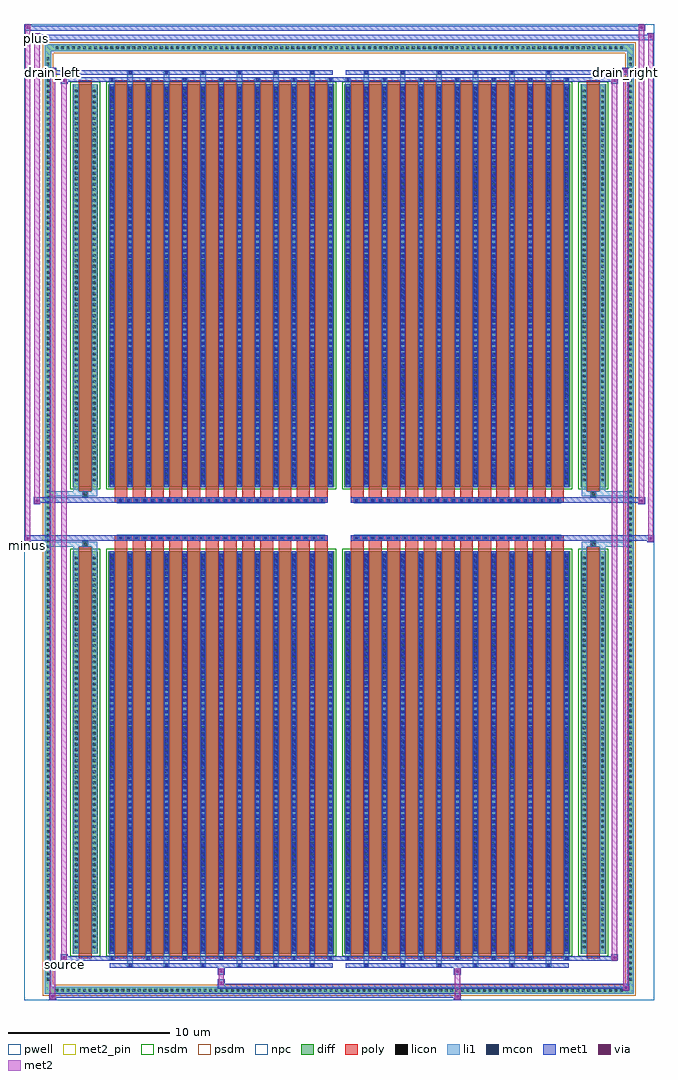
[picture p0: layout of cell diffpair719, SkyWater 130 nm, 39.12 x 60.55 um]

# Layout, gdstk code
import gdstk
lib = gdstk.Library(unit=1e-6, precision=5e-09)
def R(c, l, rs):  # rectangles x0, y0, x1, y1
    for r in rs: c.add(gdstk.rectangle(r[:2], r[2:], *l))
def A(c, l, x, y, w, h, nx, ny, dx, dy):  # array of equal rectangles
    R(c, l, [(x+i*dx, y+j*dy, x+i*dx+w, y+j*dy+h) for i in range(nx) for j in range(ny)])
def P(c, l, *ps):  # polygons
    for p in ps: c.add(gdstk.Polygon(p, *l))
pwell = (64, 44)
diff = (65, 20)
poly = (66, 20)
licon = (66, 44)
li1 = (67, 20)
mcon = (67, 44)
met1 = (68, 20)
via = (68, 44)
met2_pin = (69, 16)
met2 = (69, 20)
nsdm = (93, 44)
psdm = (94, 20)
npc = (95, 20)

diffpair719 = lib.new_cell('diffpair719')
R(diffpair719, pwell, [(-19.54,-29.84,19.54,30.71), (-16.86,-28.03,-0.01,-0.805), (0.01,-28.03,16.86,-0.805), (-16.86,0.805,-0.01,28.03), (0.01,0.805,16.86,28.03)])
A(diffpair719, diff, -17.715, -29.44, 0.41, 0.41, 104, 2, 0.34, 58.47)
A(diffpair719, diff, -18.27, -28.765, 0.41, 0.41, 1, 169, 0, 0.34)
A(diffpair719, diff, 17.86, -28.765, 0.41, 0.41, 1, 169, 0, 0.34)
R(diffpair719, diff, [(-17.715,-29.44,17.715,-29.03), (-18.27,-28.765,-17.86,28.765), (17.86,-28.765,18.27,28.765), (-16.55,-26.985,-14.97,-1.985), (-14.33,-26.985,-0.32,-1.985), (0.32,-26.985,14.33,-1.985), (14.97,-26.985,16.55,-1.985), (-16.55,1.985,-14.97,26.985), (-14.33,1.985,-0.32,26.985), (0.32,1.985,14.33,26.985), (14.97,1.985,16.55,26.985), (-17.715,29.03,17.715,29.44)])
P(diffpair719, diff, [(18.27,29.44),(-18.27,29.44),(-18.27,-29.03),(-17.86,-29.03),(-17.86,29.03),(17.86,29.03),(17.86,-29.03),(-17.86,-29.03),(-18.27,-29.03),(-18.27,-29.44),(18.27,-29.44)])
A(diffpair719, poly, -13.94, -27.235, 0.8, 25.5, 12, 2, 1.13, 28.97)
A(diffpair719, poly, 0.71, -27.235, 0.8, 25.5, 12, 2, 1.13, 28.97)
A(diffpair719, poly, -13.94, -1.735, 0.8, 0.4, 12, 2, 1.13, 3.07)
A(diffpair719, poly, 0.71, -1.735, 0.8, 0.4, 12, 2, 1.13, 3.07)
A(diffpair719, poly, -13.74, -1.335, 0.33, 0.33, 26, 2, 0.5, 2.34)
A(diffpair719, poly, 0.91, -1.335, 0.33, 0.33, 26, 2, 0.5, 2.34)
R(diffpair719, poly, [(-16.16,-27.235,-15.36,-1.735), (15.36,-27.235,16.16,-1.735), (-15.925,-1.735,-15.595,-1.405), (-15.925,-1.735,-15.595,-1.405), (15.595,-1.735,15.925,-1.405), (15.595,-1.735,15.925,-1.405), (-13.94,-1.335,-0.71,-1.005), (0.71,-1.335,13.94,-1.005), (-13.94,1.005,-0.71,1.335), (0.71,1.005,13.94,1.335), (-15.925,1.405,-15.595,1.735), (-15.925,1.405,-15.595,1.735), (15.595,1.405,15.925,1.735), (15.595,1.405,15.925,1.735), (-16.16,1.735,-15.36,27.235), (15.36,1.735,16.16,27.235)])
A(diffpair719, licon, -17.595, -29.32, 0.17, 0.17, 104, 2, 0.34, 58.47)
A(diffpair719, licon, -18.15, -28.645, 0.17, 0.17, 1, 169, 0, 0.34)
A(diffpair719, licon, 17.98, -28.645, 0.17, 0.17, 1, 169, 0, 0.34)
A(diffpair719, licon, -16.41, -26.64, 0.17, 0.17, 1, 72, 0, 0.34)
A(diffpair719, licon, -15.28, -26.64, 0.17, 0.17, 1, 72, 0, 0.34)
A(diffpair719, licon, -14.19, -26.64, 0.17, 0.17, 13, 72, 1.13, 0.34)
A(diffpair719, licon, 0.46, -26.64, 0.17, 0.17, 13, 72, 1.13, 0.34)
A(diffpair719, licon, 15.11, -26.64, 0.17, 0.17, 1, 72, 0, 0.34)
A(diffpair719, licon, 16.24, -26.64, 0.17, 0.17, 1, 72, 0, 0.34)
A(diffpair719, licon, -13.66, -1.255, 0.17, 0.17, 26, 2, 0.5, 2.34)
A(diffpair719, licon, 0.99, -1.255, 0.17, 0.17, 26, 2, 0.5, 2.34)
A(diffpair719, licon, -16.41, 2.33, 0.17, 0.17, 1, 72, 0, 0.34)
A(diffpair719, licon, -15.28, 2.33, 0.17, 0.17, 1, 72, 0, 0.34)
A(diffpair719, licon, -14.19, 2.33, 0.17, 0.17, 13, 72, 1.13, 0.34)
A(diffpair719, licon, 0.46, 2.33, 0.17, 0.17, 13, 72, 1.13, 0.34)
A(diffpair719, licon, 15.11, 2.33, 0.17, 0.17, 1, 72, 0, 0.34)
A(diffpair719, licon, 16.24, 2.33, 0.17, 0.17, 1, 72, 0, 0.34)
R(diffpair719, licon, [(-15.845,-1.655,-15.675,-1.485), (15.675,-1.655,15.845,-1.485), (-15.845,1.485,-15.675,1.655), (15.675,1.485,15.845,1.655)])
A(diffpair719, li1, -17.675, -29.4, 0.33, 0.33, 104, 2, 0.34, 58.47)
A(diffpair719, li1, -18.23, -28.725, 0.33, 0.33, 1, 169, 0, 0.34)
A(diffpair719, li1, 17.9, -28.725, 0.33, 0.33, 1, 169, 0, 0.34)
A(diffpair719, li1, -13.14, -27.79, 0.33, 0.805, 6, 2, 2.26, 54.775)
A(diffpair719, li1, -13.06, -27.79, 0.17, 0.17, 6, 2, 2.26, 55.41)
A(diffpair719, li1, 1.51, -27.79, 0.33, 0.805, 6, 2, 2.26, 54.775)
A(diffpair719, li1, 1.59, -27.79, 0.17, 0.17, 6, 2, 2.26, 55.41)
A(diffpair719, li1, -14.27, -27.36, 0.33, 0.375, 7, 2, 2.26, 54.345)
A(diffpair719, li1, -14.19, -27.36, 0.17, 0.17, 7, 2, 2.26, 54.55)
A(diffpair719, li1, 0.38, -27.36, 0.33, 0.375, 7, 2, 2.26, 54.345)
A(diffpair719, li1, 0.46, -27.36, 0.17, 0.17, 7, 2, 2.26, 54.55)
A(diffpair719, li1, -14.27, -26.985, 0.33, 25, 13, 2, 1.13, 28.97)
A(diffpair719, li1, 0.38, -26.985, 0.33, 25, 13, 2, 1.13, 28.97)
A(diffpair719, li1, -14.19, -26.81, 0.17, 0.17, 13, 69, 1.13, 0.36)
A(diffpair719, li1, -14.19, -26.81, 0.17, 24.65, 13, 2, 1.13, 28.97)
A(diffpair719, li1, 0.46, -26.81, 0.17, 0.17, 13, 69, 1.13, 0.36)
A(diffpair719, li1, 0.46, -26.81, 0.17, 24.65, 13, 2, 1.13, 28.97)
A(diffpair719, li1, -16.49, -26.72, 0.33, 0.33, 1, 72, 0, 0.34)
A(diffpair719, li1, -15.36, -26.72, 0.33, 0.33, 1, 72, 0, 0.34)
A(diffpair719, li1, -14.27, -26.72, 0.33, 0.33, 13, 72, 1.13, 0.34)
A(diffpair719, li1, 0.38, -26.72, 0.33, 0.33, 13, 72, 1.13, 0.34)
A(diffpair719, li1, 15.03, -26.72, 0.33, 0.33, 1, 72, 0, 0.34)
A(diffpair719, li1, 16.16, -26.72, 0.33, 0.33, 1, 72, 0, 0.34)
A(diffpair719, li1, -13.74, -1.335, 0.33, 0.33, 26, 2, 0.5, 2.34)
A(diffpair719, li1, 0.91, -1.335, 0.33, 0.33, 26, 2, 0.5, 2.34)
A(diffpair719, li1, -14.19, 2.16, 0.17, 0.17, 13, 69, 1.13, 0.36)
A(diffpair719, li1, 0.46, 2.16, 0.17, 0.17, 13, 69, 1.13, 0.36)
A(diffpair719, li1, -16.49, 2.25, 0.33, 0.33, 1, 72, 0, 0.34)
A(diffpair719, li1, -15.36, 2.25, 0.33, 0.33, 1, 72, 0, 0.34)
A(diffpair719, li1, -14.27, 2.25, 0.33, 0.33, 13, 72, 1.13, 0.34)
A(diffpair719, li1, 0.38, 2.25, 0.33, 0.33, 13, 72, 1.13, 0.34)
A(diffpair719, li1, 15.03, 2.25, 0.33, 0.33, 1, 72, 0, 0.34)
A(diffpair719, li1, 16.16, 2.25, 0.33, 0.33, 1, 72, 0, 0.34)
R(diffpair719, li1, [(-18.27,-29.44,-17.86,-29.03), (-18.27,-29.44,-17.86,-29.03), (-17.86,-29.44,17.86,-29.03), (17.86,-29.44,18.27,-29.03), (17.86,-29.44,18.27,-29.03), (-18.27,-29.03,-17.86,29.03), (17.86,-29.03,18.27,29.03), (-16.49,-26.985,-16.16,-1.985), (-15.36,-26.985,-15.03,-1.985), (15.03,-26.985,15.36,-1.985), (16.16,-26.985,16.49,-1.985), (-16.49,-1.985,-16.16,-1.405), (-15.36,-1.985,-15.03,-1.405), (15.03,-1.985,15.36,-1.405), (16.16,-1.985,16.49,-1.405), (-18.27,-1.735,-15.925,-1.405), (-16.49,-1.735,-15.925,-1.405), (-15.925,-1.735,-15.595,-1.405), (-15.595,-1.735,-15.03,-1.405), (15.03,-1.735,15.595,-1.405), (15.595,-1.735,15.925,-1.405), (15.595,-1.735,18.27,-1.405), (15.925,-1.735,16.49,-1.405), (-18.27,1.405,-15.925,1.735), (-16.49,1.405,-15.925,1.735), (-16.49,1.405,-16.16,1.985), (-15.925,1.405,-15.595,1.735), (-15.595,1.405,-15.03,1.735), (-15.36,1.405,-15.03,1.985), (15.03,1.405,15.595,1.735), (15.03,1.405,15.36,1.985), (15.595,1.405,15.925,1.735), (15.595,1.405,18.27,1.735), (15.925,1.405,16.49,1.735), (16.16,1.405,16.49,1.985), (-16.49,1.985,-16.16,26.985), (-15.36,1.985,-15.03,26.985), (15.03,1.985,15.36,26.985), (16.16,1.985,16.49,26.985), (-18.27,29.03,-17.86,29.44), (-18.27,29.03,-17.86,29.44), (-17.86,29.03,17.86,29.44), (17.86,29.03,18.27,29.44), (17.86,29.03,18.27,29.44)])
A(diffpair719, mcon, -13.06, -27.79, 0.17, 0.17, 6, 2, 2.26, 55.41)
A(diffpair719, mcon, 1.59, -27.79, 0.17, 0.17, 6, 2, 2.26, 55.41)
A(diffpair719, mcon, -14.19, -27.36, 0.17, 0.17, 7, 2, 2.26, 54.55)
A(diffpair719, mcon, 0.46, -27.36, 0.17, 0.17, 7, 2, 2.26, 54.55)
A(diffpair719, mcon, -14.19, -26.81, 0.17, 0.17, 13, 69, 1.13, 0.36)
A(diffpair719, mcon, 0.46, -26.81, 0.17, 0.17, 13, 69, 1.13, 0.36)
A(diffpair719, mcon, -13.66, -1.255, 0.17, 0.17, 26, 2, 0.5, 2.34)
A(diffpair719, mcon, 0.99, -1.255, 0.17, 0.17, 26, 2, 0.5, 2.34)
A(diffpair719, mcon, -14.19, 2.16, 0.17, 0.17, 13, 69, 1.13, 0.36)
A(diffpair719, mcon, 0.46, 2.16, 0.17, 0.17, 13, 69, 1.13, 0.36)
A(diffpair719, met1, -13.12, -27.85, 0.29, 0.29, 6, 2, 2.26, 55.41)
A(diffpair719, met1, 1.53, -27.85, 0.29, 0.29, 6, 2, 2.26, 55.41)
A(diffpair719, met1, -14.25, -27.42, 0.29, 0.29, 7, 2, 2.26, 54.55)
A(diffpair719, met1, 0.4, -27.42, 0.29, 0.29, 7, 2, 2.26, 54.55)
A(diffpair719, met1, -14.25, -26.985, 0.29, 25, 13, 2, 1.13, 28.97)
A(diffpair719, met1, 0.4, -26.985, 0.29, 25, 13, 2, 1.13, 28.97)
A(diffpair719, met1, -14.25, -26.87, 0.29, 0.29, 13, 69, 1.13, 0.36)
A(diffpair719, met1, 0.4, -26.87, 0.29, 0.29, 13, 69, 1.13, 0.36)
A(diffpair719, met1, -13.72, -1.315, 0.29, 0.29, 26, 2, 0.5, 2.34)
A(diffpair719, met1, 0.93, -1.315, 0.29, 0.29, 26, 2, 0.5, 2.34)
A(diffpair719, met1, -14.25, 2.1, 0.29, 0.29, 13, 69, 1.13, 0.36)
A(diffpair719, met1, 0.4, 2.1, 0.29, 0.29, 13, 69, 1.13, 0.36)
R(diffpair719, met1, [(-18,-29.84,-17.57,-29.41), (7.11,-29.84,7.54,-29.41), (-18,-29.7,7.54,-29.41), (17.57,-29.27,18,-28.84), (-7.54,-29.13,18,-28.84), (-7.54,-28.99,-7.11,-28.56), (-7.54,-28.28,-7.11,-27.85), (7.11,-28.28,7.54,-27.85), (-14.25,-27.85,-0.4,-27.56), (0.4,-27.85,14.25,-27.56), (-17.29,-27.42,-16.86,-26.99), (-17.29,-27.42,-14.25,-27.13), (-14.25,-27.42,-0.4,-27.13), (-0.4,-27.42,0.4,-27.13), (0.4,-27.42,14.25,-27.13), (14.25,-27.42,17.29,-27.13), (16.86,-27.42,17.29,-26.99), (-19.54,-1.435,-19.11,-1.005), (19.11,-1.435,19.54,-1.005), (-19.54,-1.335,-0.71,-1.005), (-13.94,-1.335,-0.71,-1.005), (0.71,-1.335,13.94,-1.005), (0.71,-1.335,19.54,-1.005), (-18.97,0.905,-18.54,1.335), (18.54,0.905,18.97,1.335), (-18.97,1.005,-13.94,1.335), (-13.94,1.005,-0.71,1.335), (0.71,1.005,13.94,1.335), (13.94,1.005,18.97,1.335), (-17.29,26.99,-16.86,27.42), (16.86,26.99,17.29,27.42), (-17.29,27.13,-14.25,27.42), (-14.25,27.13,-0.4,27.42), (-0.4,27.13,0.4,27.42), (0.4,27.13,14.25,27.42), (14.25,27.13,17.29,27.42), (-18,27.56,-17.57,27.99), (-18,27.56,-14.25,27.85), (-14.25,27.56,-0.4,27.85), (0.4,27.56,14.25,27.85), (14.25,27.56,18,27.85), (17.57,27.56,18,27.99), (-18.97,29.71,-18.54,30.14), (-18.97,29.71,-16.86,30.04), (-16.86,29.71,16.86,30.04), (16.86,29.71,19.54,30.04), (19.11,29.71,19.54,30.14), (-19.54,30.28,-19.11,30.71), (-19.54,30.28,-16.86,30.61), (-16.86,30.28,16.86,30.61), (16.86,30.28,18.97,30.61), (18.54,30.28,18.97,30.71)])
R(diffpair719, via, [(-17.86,-29.7,-17.71,-29.55), (7.25,-29.7,7.4,-29.55), (17.71,-29.13,17.86,-28.98), (-7.4,-28.85,-7.25,-28.7), (-7.4,-28.14,-7.25,-27.99), (7.25,-28.14,7.4,-27.99), (-17.15,-27.28,-17,-27.13), (17,-27.28,17.15,-27.13), (-19.4,-1.295,-19.25,-1.145), (19.25,-1.295,19.4,-1.145), (-18.83,1.045,-18.68,1.195), (18.68,1.045,18.83,1.195), (-17.15,27.13,-17,27.28), (17,27.13,17.15,27.28), (-17.86,27.7,-17.71,27.85), (17.71,27.7,17.86,27.85), (-18.83,29.85,-18.68,30), (19.25,29.85,19.4,30), (-19.4,30.42,-19.25,30.57), (18.68,30.42,18.83,30.57)])
R(diffpair719, met2_pin, [(-17.325,-27.87,-16.825,-27.37), (-19.575,-1.885,-19.075,-1.385), (-18.035,27.44,-17.535,27.94), (17.535,27.44,18.035,27.94), (-19.005,29.59,-18.505,30.09)])
R(diffpair719, met2, [(-17.95,-29.79,-17.62,-29.46), (-17.95,-29.79,-17.62,27.94), (7.16,-29.79,7.49,-29.46), (7.16,-29.46,7.49,-28.23), (17.62,-29.22,17.95,-28.89), (17.62,-29.22,17.95,27.94), (-7.49,-28.94,-7.16,-28.61), (-7.49,-28.61,-7.16,-28.23), (-7.49,-28.23,-7.16,-27.9), (7.16,-28.23,7.49,-27.9), (-17.24,-27.37,-16.91,-27.04), (-17.24,-27.37,-16.91,27.37), (16.91,-27.37,17.24,-27.04), (16.91,-27.37,17.24,27.37), (-19.49,-1.385,-19.16,-1.055), (-19.49,-1.385,-19.16,30.66), (19.16,-1.385,19.49,-1.055), (19.16,-1.385,19.49,30.09), (-18.92,0.955,-18.59,1.285), (-18.92,0.955,-18.59,30.09), (18.59,0.955,18.92,1.285), (18.59,0.955,18.92,30.66), (-17.24,27.04,-16.91,27.37), (16.91,27.04,17.24,27.37), (-17.95,27.61,-17.62,27.94), (17.62,27.61,17.95,27.94), (-18.92,29.76,-18.59,30.09), (19.16,29.76,19.49,30.09), (-19.49,30.33,-19.16,30.66), (18.59,30.33,18.92,30.66)])
P(diffpair719, met2, [(19.49,-1.385),(19.49,-1.385),(19.49,-1.055),(19.49,-1.055)],
  [(19.49,29.76),(19.49,29.76),(19.49,30.09),(19.49,30.09)],
  [(-19.16,-1.385),(-19.16,-1.385),(-19.16,-1.055),(-19.16,-1.055)],
  [(-19.16,30.33),(-19.16,30.33),(-19.16,30.66),(-19.16,30.66)],
  [(18.92,0.955),(18.92,0.955),(18.92,1.285),(18.92,1.285)],
  [(18.92,30.33),(18.92,30.33),(18.92,30.66),(18.92,30.66)],
  [(-18.59,0.955),(-18.59,0.955),(-18.59,1.285),(-18.59,1.285)],
  [(-18.59,29.76),(-18.59,29.76),(-18.59,30.09),(-18.59,30.09)],
  [(-17.62,-29.79),(-17.62,-29.79),(-17.62,-29.46),(-17.62,-29.46)],
  [(-17.62,27.61),(-17.62,27.61),(-17.62,27.94),(-17.62,27.94)],
  [(17.95,-29.22),(17.95,-29.22),(17.95,-28.89),(17.95,-28.89)],
  [(17.95,27.61),(17.95,27.61),(17.95,27.94),(17.95,27.94)],
  [(-16.91,-27.37),(-16.91,-27.37),(-16.91,-27.04),(-16.91,-27.04)],
  [(-16.91,27.04),(-16.91,27.04),(-16.91,27.37),(-16.91,27.37)],
  [(17.24,-27.37),(17.24,-27.37),(17.24,-27.04),(17.24,-27.04)],
  [(17.24,27.04),(17.24,27.04),(17.24,27.37),(17.24,27.37)])
R(diffpair719, nsdm, [(-16.68,-27.115,-14.84,-1.855), (-14.46,-27.115,-0.19,-1.855), (0.19,-27.115,14.46,-1.855), (14.84,-27.115,16.68,-1.855), (-16.68,1.855,-14.84,27.115), (-14.46,1.855,-0.19,27.115), (0.19,1.855,14.46,27.115), (14.84,1.855,16.68,27.115)])
P(diffpair719, psdm, [(18.4,29.57),(-18.4,29.57),(-18.4,-28.9),(-17.73,-28.9),(-17.73,28.9),(17.73,28.9),(17.73,-28.9),(-17.73,-28.9),(-18.4,-28.9),(-18.4,-29.57),(18.4,-29.57)])
A(diffpair719, npc, -13.76, -1.355, 0.37, 0.37, 26, 2, 0.5, 2.34)
A(diffpair719, npc, 0.89, -1.355, 0.37, 0.37, 26, 2, 0.5, 2.34)
R(diffpair719, npc, [(-15.945,-1.755,-15.575,-1.385), (15.575,-1.755,15.945,-1.385), (-13.76,-1.355,-12.89,-0.985), (-13.76,-1.355,-12.89,-0.985), (-13.26,-1.355,-12.39,-0.985), (-13.26,-1.355,-12.39,-0.985), (-12.76,-1.355,-11.89,-0.985), (-12.76,-1.355,-11.89,-0.985), (-12.26,-1.355,-11.39,-0.985), (-12.26,-1.355,-11.39,-0.985), (-11.76,-1.355,-10.89,-0.985), (-11.76,-1.355,-10.89,-0.985), (-11.26,-1.355,-10.39,-0.985), (-11.26,-1.355,-10.39,-0.985), (-10.76,-1.355,-9.89,-0.985), (-10.76,-1.355,-9.89,-0.985), (-10.26,-1.355,-9.39,-0.985), (-10.26,-1.355,-9.39,-0.985), (-9.76,-1.355,-8.89,-0.985), (-9.76,-1.355,-8.89,-0.985), (-9.26,-1.355,-8.39,-0.985), (-9.26,-1.355,-8.39,-0.985), (-8.76,-1.355,-7.89,-0.985), (-8.76,-1.355,-7.89,-0.985), (-8.26,-1.355,-7.39,-0.985), (-8.26,-1.355,-7.39,-0.985), (-7.76,-1.355,-6.89,-0.985), (-7.76,-1.355,-6.89,-0.985), (-7.26,-1.355,-6.39,-0.985), (-7.26,-1.355,-6.39,-0.985), (-6.76,-1.355,-5.89,-0.985), (-6.76,-1.355,-5.89,-0.985), (-6.26,-1.355,-5.39,-0.985), (-6.26,-1.355,-5.39,-0.985), (-5.76,-1.355,-4.89,-0.985), (-5.76,-1.355,-4.89,-0.985), (-5.26,-1.355,-4.39,-0.985), (-5.26,-1.355,-4.39,-0.985), (-4.76,-1.355,-3.89,-0.985), (-4.76,-1.355,-3.89,-0.985), (-4.26,-1.355,-3.39,-0.985), (-4.26,-1.355,-3.39,-0.985), (-3.76,-1.355,-2.89,-0.985), (-3.76,-1.355,-2.89,-0.985), (-3.26,-1.355,-2.39,-0.985), (-3.26,-1.355,-2.39,-0.985), (-2.76,-1.355,-1.89,-0.985), (-2.76,-1.355,-1.89,-0.985), (-2.26,-1.355,-1.39,-0.985), (-2.26,-1.355,-1.39,-0.985), (-1.76,-1.355,-0.89,-0.985), (-1.76,-1.355,-0.89,-0.985), (0.89,-1.355,1.76,-0.985), (0.89,-1.355,1.76,-0.985), (1.39,-1.355,2.26,-0.985), (1.39,-1.355,2.26,-0.985), (1.89,-1.355,2.76,-0.985), (1.89,-1.355,2.76,-0.985), (2.39,-1.355,3.26,-0.985), (2.39,-1.355,3.26,-0.985), (2.89,-1.355,3.76,-0.985), (2.89,-1.355,3.76,-0.985), (3.39,-1.355,4.26,-0.985), (3.39,-1.355,4.26,-0.985), (3.89,-1.355,4.76,-0.985), (3.89,-1.355,4.76,-0.985), (4.39,-1.355,5.26,-0.985), (4.39,-1.355,5.26,-0.985), (4.89,-1.355,5.76,-0.985), (4.89,-1.355,5.76,-0.985), (5.39,-1.355,6.26,-0.985), (5.39,-1.355,6.26,-0.985), (5.89,-1.355,6.76,-0.985), (5.89,-1.355,6.76,-0.985), (6.39,-1.355,7.26,-0.985), (6.39,-1.355,7.26,-0.985), (6.89,-1.355,7.76,-0.985), (6.89,-1.355,7.76,-0.985), (7.39,-1.355,8.26,-0.985), (7.39,-1.355,8.26,-0.985), (7.89,-1.355,8.76,-0.985), (7.89,-1.355,8.76,-0.985), (8.39,-1.355,9.26,-0.985), (8.39,-1.355,9.26,-0.985), (8.89,-1.355,9.76,-0.985), (8.89,-1.355,9.76,-0.985), (9.39,-1.355,10.26,-0.985), (9.39,-1.355,10.26,-0.985), (9.89,-1.355,10.76,-0.985), (9.89,-1.355,10.76,-0.985), (10.39,-1.355,11.26,-0.985), (10.39,-1.355,11.26,-0.985), (10.89,-1.355,11.76,-0.985), (10.89,-1.355,11.76,-0.985), (11.39,-1.355,12.26,-0.985), (11.39,-1.355,12.26,-0.985), (11.89,-1.355,12.76,-0.985), (11.89,-1.355,12.76,-0.985), (12.39,-1.355,13.26,-0.985), (12.39,-1.355,13.26,-0.985), (12.89,-1.355,13.76,-0.985), (12.89,-1.355,13.76,-0.985), (-13.76,0.985,-12.89,1.355), (-13.76,0.985,-12.89,1.355), (-13.26,0.985,-12.39,1.355), (-13.26,0.985,-12.39,1.355), (-12.76,0.985,-11.89,1.355), (-12.76,0.985,-11.89,1.355), (-12.26,0.985,-11.39,1.355), (-12.26,0.985,-11.39,1.355), (-11.76,0.985,-10.89,1.355), (-11.76,0.985,-10.89,1.355), (-11.26,0.985,-10.39,1.355), (-11.26,0.985,-10.39,1.355), (-10.76,0.985,-9.89,1.355), (-10.76,0.985,-9.89,1.355), (-10.26,0.985,-9.39,1.355), (-10.26,0.985,-9.39,1.355), (-9.76,0.985,-8.89,1.355), (-9.76,0.985,-8.89,1.355), (-9.26,0.985,-8.39,1.355), (-9.26,0.985,-8.39,1.355), (-8.76,0.985,-7.89,1.355), (-8.76,0.985,-7.89,1.355), (-8.26,0.985,-7.39,1.355), (-8.26,0.985,-7.39,1.355), (-7.76,0.985,-6.89,1.355), (-7.76,0.985,-6.89,1.355), (-7.26,0.985,-6.39,1.355), (-7.26,0.985,-6.39,1.355), (-6.76,0.985,-5.89,1.355), (-6.76,0.985,-5.89,1.355), (-6.26,0.985,-5.39,1.355), (-6.26,0.985,-5.39,1.355), (-5.76,0.985,-4.89,1.355), (-5.76,0.985,-4.89,1.355), (-5.26,0.985,-4.39,1.355), (-5.26,0.985,-4.39,1.355), (-4.76,0.985,-3.89,1.355), (-4.76,0.985,-3.89,1.355), (-4.26,0.985,-3.39,1.355), (-4.26,0.985,-3.39,1.355), (-3.76,0.985,-2.89,1.355), (-3.76,0.985,-2.89,1.355), (-3.26,0.985,-2.39,1.355), (-3.26,0.985,-2.39,1.355), (-2.76,0.985,-1.89,1.355), (-2.76,0.985,-1.89,1.355), (-2.26,0.985,-1.39,1.355), (-2.26,0.985,-1.39,1.355), (-1.76,0.985,-0.89,1.355), (-1.76,0.985,-0.89,1.355), (0.89,0.985,1.76,1.355), (0.89,0.985,1.76,1.355), (1.39,0.985,2.26,1.355), (1.39,0.985,2.26,1.355), (1.89,0.985,2.76,1.355), (1.89,0.985,2.76,1.355), (2.39,0.985,3.26,1.355), (2.39,0.985,3.26,1.355), (2.89,0.985,3.76,1.355), (2.89,0.985,3.76,1.355), (3.39,0.985,4.26,1.355), (3.39,0.985,4.26,1.355), (3.89,0.985,4.76,1.355), (3.89,0.985,4.76,1.355), (4.39,0.985,5.26,1.355), (4.39,0.985,5.26,1.355), (4.89,0.985,5.76,1.355), (4.89,0.985,5.76,1.355), (5.39,0.985,6.26,1.355), (5.39,0.985,6.26,1.355), (5.89,0.985,6.76,1.355), (5.89,0.985,6.76,1.355), (6.39,0.985,7.26,1.355), (6.39,0.985,7.26,1.355), (6.89,0.985,7.76,1.355), (6.89,0.985,7.76,1.355), (7.39,0.985,8.26,1.355), (7.39,0.985,8.26,1.355), (7.89,0.985,8.76,1.355), (7.89,0.985,8.76,1.355), (8.39,0.985,9.26,1.355), (8.39,0.985,9.26,1.355), (8.89,0.985,9.76,1.355), (8.89,0.985,9.76,1.355), (9.39,0.985,10.26,1.355), (9.39,0.985,10.26,1.355), (9.89,0.985,10.76,1.355), (9.89,0.985,10.76,1.355), (10.39,0.985,11.26,1.355), (10.39,0.985,11.26,1.355), (10.89,0.985,11.76,1.355), (10.89,0.985,11.76,1.355), (11.39,0.985,12.26,1.355), (11.39,0.985,12.26,1.355), (11.89,0.985,12.76,1.355), (11.89,0.985,12.76,1.355), (12.39,0.985,13.26,1.355), (12.39,0.985,13.26,1.355), (12.89,0.985,13.76,1.355), (12.89,0.985,13.76,1.355), (-15.945,1.385,-15.575,1.755), (15.575,1.385,15.945,1.755)])
diffpair719.add(gdstk.Label('minus', (-19.325,-1.635), layer=69, texttype=5))
diffpair719.add(gdstk.Label('drain_right', (17.785,27.69), layer=69, texttype=5))
diffpair719.add(gdstk.Label('drain_left', (-17.785,27.69), layer=69, texttype=5))
diffpair719.add(gdstk.Label('source', (-17.075,-27.62), layer=69, texttype=5))
diffpair719.add(gdstk.Label('plus', (-18.755,29.84), layer=69, texttype=5))

lib.write_gds('diffpair719.gds')
